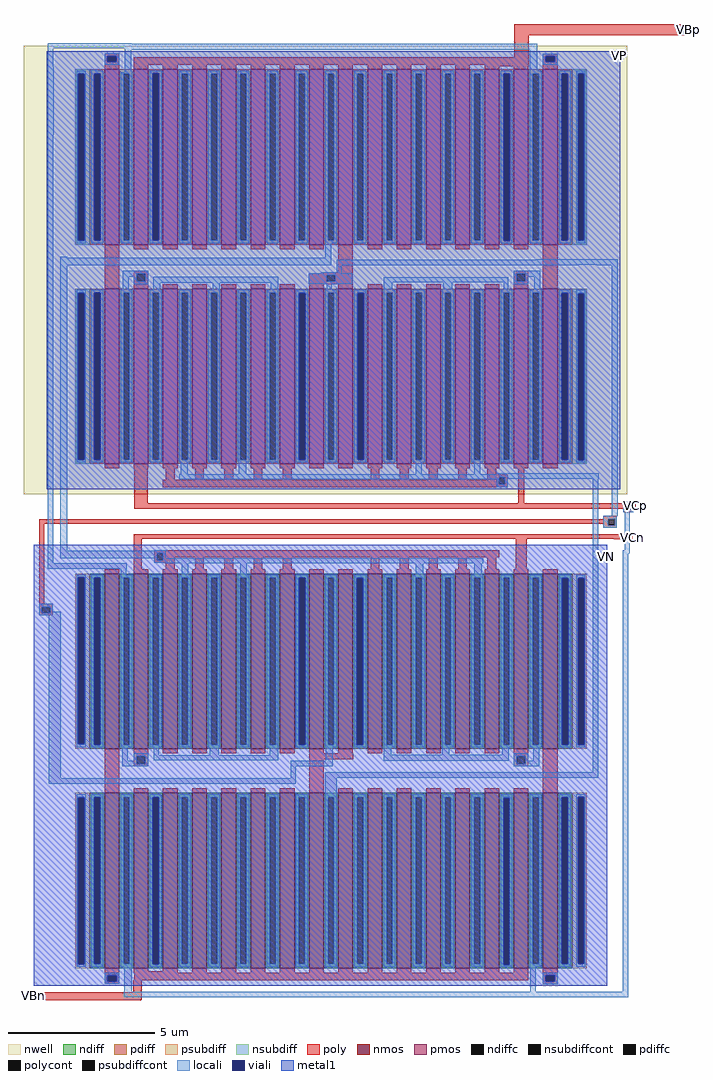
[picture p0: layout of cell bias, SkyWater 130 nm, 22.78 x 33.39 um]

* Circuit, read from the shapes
.subckt bias VBp VP VCp VCn VBn VN
XM1 VCp VN VN VN sky130_fd_pr__nfet_01v8 w=6 l=0.5 m=2
XM2 VCn VN VN VN sky130_fd_pr__nfet_01v8 w=6 l=0.5 m=2
XM3 VN VBn VCp VN sky130_fd_pr__nfet_01v8 w=6 l=0.5 m=2
XM4 n1 VCn VCn VN sky130_fd_pr__nfet_01v8 w=6 l=0.5
XM5 n2 VBn VN VN sky130_fd_pr__nfet_01v8 w=6 l=0.5
XM6 n3 n3 n1 VN sky130_fd_pr__nfet_01v8 w=6 l=0.5 m=4
XM7 n4 VBn n2 VN sky130_fd_pr__nfet_01v8 w=6 l=0.5
XM8 n5 VBn n4 VN sky130_fd_pr__nfet_01v8 w=6 l=0.5
XM9 n6 VBn n5 VN sky130_fd_pr__nfet_01v8 w=6 l=0.5
XM10 n7 VBn n6 VN sky130_fd_pr__nfet_01v8 w=6 l=0.5
XM11 VN n3 n1 VN sky130_fd_pr__nfet_01v8 w=6 l=0.5
XM12 n8 VBn n7 VN sky130_fd_pr__nfet_01v8 w=6 l=0.5
XM13 VBp VBn VN VN sky130_fd_pr__nfet_01v8 w=6 l=0.5 m=2
XM14 n9 VBn n8 VN sky130_fd_pr__nfet_01v8 w=6 l=0.5
XM15 n10 VBn n9 VN sky130_fd_pr__nfet_01v8 w=6 l=0.5
XM16 n11 n3 VN VN sky130_fd_pr__nfet_01v8 w=6 l=0.5
XM17 n12 VBn n10 VN sky130_fd_pr__nfet_01v8 w=6 l=0.5
XM18 n3 n3 n11 VN sky130_fd_pr__nfet_01v8 w=6 l=0.5 m=4
XM19 n13 VBn n12 VN sky130_fd_pr__nfet_01v8 w=6 l=0.5
XM20 n14 VBn n13 VN sky130_fd_pr__nfet_01v8 w=6 l=0.5
XM21 VN VBn n14 VN sky130_fd_pr__nfet_01v8 w=6 l=0.5
XM22 VCn VCn n11 VN sky130_fd_pr__nfet_01v8 w=6 l=0.5
XM23 VCp VP VP VP sky130_fd_pr__pfet_01v8 w=6 l=0.5 m=2
XM24 VCn VP VP VP sky130_fd_pr__pfet_01v8 w=6 l=0.5 m=2
XM25 n15 VCp VCp VP sky130_fd_pr__pfet_01v8 w=6 l=0.5
XM26 VP VBp VCn VP sky130_fd_pr__pfet_01v8 w=6 l=0.5 m=2
XM27 n8 n8 n15 VP sky130_fd_pr__pfet_01v8 w=6 l=0.5 m=4
XM28 n16 VBp VP VP sky130_fd_pr__pfet_01v8 w=6 l=0.5
XM29 n17 VBp n16 VP sky130_fd_pr__pfet_01v8 w=6 l=0.5
XM30 n18 VBp n17 VP sky130_fd_pr__pfet_01v8 w=6 l=0.5
XM31 n19 VBp n18 VP sky130_fd_pr__pfet_01v8 w=6 l=0.5
XM32 VP n8 n15 VP sky130_fd_pr__pfet_01v8 w=6 l=0.5
XM33 n20 VBp n19 VP sky130_fd_pr__pfet_01v8 w=6 l=0.5
XM34 VBp VBp VP VP sky130_fd_pr__pfet_01v8 w=6 l=0.5 m=2
XM35 n3 VBp n20 VP sky130_fd_pr__pfet_01v8 w=6 l=0.5
XM36 n21 VBp n3 VP sky130_fd_pr__pfet_01v8 w=6 l=0.5
XM37 n22 n8 VP VP sky130_fd_pr__pfet_01v8 w=6 l=0.5
XM38 n23 VBp n21 VP sky130_fd_pr__pfet_01v8 w=6 l=0.5
XM39 n8 n8 n22 VP sky130_fd_pr__pfet_01v8 w=6 l=0.5 m=4
XM40 n24 VBp n23 VP sky130_fd_pr__pfet_01v8 w=6 l=0.5
XM41 n25 VBp n24 VP sky130_fd_pr__pfet_01v8 w=6 l=0.5
XM42 n26 VBp n25 VP sky130_fd_pr__pfet_01v8 w=6 l=0.5
XM43 VP VBp n26 VP sky130_fd_pr__pfet_01v8 w=6 l=0.5
XM44 VCp VCp n22 VP sky130_fd_pr__pfet_01v8 w=6 l=0.5
.ends

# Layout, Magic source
magic
tech sky130A
<< nwell >>
rect -277 1021 1788 2556
<< nmos >>
rect 0 150 50 750
rect 100 150 150 750
rect 200 150 250 750
rect 300 150 350 750
rect 400 150 450 750
rect 500 150 550 750
rect 600 150 650 750
rect 700 150 750 750
rect 800 150 850 750
rect 900 150 950 750
rect 1000 150 1050 750
rect 1100 150 1150 750
rect 1200 150 1250 750
rect 1300 150 1350 750
rect 1400 150 1450 750
rect 1500 150 1550 750
rect 0 -600 50 0
rect 100 -600 150 0
rect 200 -600 250 0
rect 300 -600 350 0
rect 400 -600 450 0
rect 500 -600 550 0
rect 600 -600 650 0
rect 700 -600 750 0
rect 800 -600 850 0
rect 900 -600 950 0
rect 1000 -600 1050 0
rect 1100 -600 1150 0
rect 1200 -600 1250 0
rect 1300 -600 1350 0
rect 1400 -600 1450 0
rect 1500 -600 1550 0
<< pmos >>
rect 0 1875 50 2475
rect 100 1875 150 2475
rect 200 1875 250 2475
rect 300 1875 350 2475
rect 400 1875 450 2475
rect 500 1875 550 2475
rect 600 1875 650 2475
rect 700 1875 750 2475
rect 800 1875 850 2475
rect 900 1875 950 2475
rect 1000 1875 1050 2475
rect 1100 1875 1150 2475
rect 1200 1875 1250 2475
rect 1300 1875 1350 2475
rect 1400 1875 1450 2475
rect 1500 1875 1550 2475
rect 0 1125 50 1725
rect 100 1125 150 1725
rect 200 1125 250 1725
rect 300 1125 350 1725
rect 400 1125 450 1725
rect 500 1125 550 1725
rect 600 1125 650 1725
rect 700 1125 750 1725
rect 800 1125 850 1725
rect 900 1125 950 1725
rect 1000 1125 1050 1725
rect 1100 1125 1150 1725
rect 1200 1125 1250 1725
rect 1300 1125 1350 1725
rect 1400 1125 1450 1725
rect 1500 1125 1550 1725
<< ndiff >>
rect -50 735 0 750
rect -50 165 -35 735
rect -15 165 0 735
rect -50 150 0 165
rect 50 735 100 750
rect 50 165 65 735
rect 85 165 100 735
rect 50 150 100 165
rect 150 735 200 750
rect 150 165 165 735
rect 185 165 200 735
rect 150 150 200 165
rect 250 735 300 750
rect 250 165 265 735
rect 285 165 300 735
rect 250 150 300 165
rect 350 735 400 750
rect 350 165 365 735
rect 385 165 400 735
rect 350 150 400 165
rect 450 735 500 750
rect 450 165 465 735
rect 485 165 500 735
rect 450 150 500 165
rect 550 735 600 750
rect 550 165 565 735
rect 585 165 600 735
rect 550 150 600 165
rect 650 735 700 750
rect 650 165 665 735
rect 685 165 700 735
rect 650 150 700 165
rect 750 735 800 750
rect 750 165 765 735
rect 785 165 800 735
rect 750 150 800 165
rect 850 735 900 750
rect 850 165 865 735
rect 885 165 900 735
rect 850 150 900 165
rect 950 735 1000 750
rect 950 165 965 735
rect 985 165 1000 735
rect 950 150 1000 165
rect 1050 735 1100 750
rect 1050 165 1065 735
rect 1085 165 1100 735
rect 1050 150 1100 165
rect 1150 735 1200 750
rect 1150 165 1165 735
rect 1185 165 1200 735
rect 1150 150 1200 165
rect 1250 735 1300 750
rect 1250 165 1265 735
rect 1285 165 1300 735
rect 1250 150 1300 165
rect 1350 735 1400 750
rect 1350 165 1365 735
rect 1385 165 1400 735
rect 1350 150 1400 165
rect 1450 735 1500 750
rect 1450 165 1465 735
rect 1485 165 1500 735
rect 1450 150 1500 165
rect 1550 735 1600 750
rect 1550 165 1565 735
rect 1585 165 1600 735
rect 1550 150 1600 165
rect -50 -15 0 0
rect -50 -585 -35 -15
rect -15 -585 0 -15
rect -50 -600 0 -585
rect 50 -15 100 0
rect 50 -585 65 -15
rect 85 -585 100 -15
rect 50 -600 100 -585
rect 150 -15 200 0
rect 150 -585 165 -15
rect 185 -585 200 -15
rect 150 -600 200 -585
rect 250 -15 300 0
rect 250 -585 265 -15
rect 285 -585 300 -15
rect 250 -600 300 -585
rect 350 -15 400 0
rect 350 -585 365 -15
rect 385 -585 400 -15
rect 350 -600 400 -585
rect 450 -15 500 0
rect 450 -585 465 -15
rect 485 -585 500 -15
rect 450 -600 500 -585
rect 550 -15 600 0
rect 550 -585 565 -15
rect 585 -585 600 -15
rect 550 -600 600 -585
rect 650 -15 700 0
rect 650 -585 665 -15
rect 685 -585 700 -15
rect 650 -600 700 -585
rect 750 -15 800 0
rect 750 -585 765 -15
rect 785 -585 800 -15
rect 750 -600 800 -585
rect 850 -15 900 0
rect 850 -585 865 -15
rect 885 -585 900 -15
rect 850 -600 900 -585
rect 950 -15 1000 0
rect 950 -585 965 -15
rect 985 -585 1000 -15
rect 950 -600 1000 -585
rect 1050 -15 1100 0
rect 1050 -585 1065 -15
rect 1085 -585 1100 -15
rect 1050 -600 1100 -585
rect 1150 -15 1200 0
rect 1150 -585 1165 -15
rect 1185 -585 1200 -15
rect 1150 -600 1200 -585
rect 1250 -15 1300 0
rect 1250 -585 1265 -15
rect 1285 -585 1300 -15
rect 1250 -600 1300 -585
rect 1350 -15 1400 0
rect 1350 -585 1365 -15
rect 1385 -585 1400 -15
rect 1350 -600 1400 -585
rect 1450 -15 1500 0
rect 1450 -585 1465 -15
rect 1485 -585 1500 -15
rect 1450 -600 1500 -585
rect 1550 -15 1600 0
rect 1550 -585 1565 -15
rect 1585 -585 1600 -15
rect 1550 -600 1600 -585
<< pdiff >>
rect -50 2460 0 2475
rect -50 1890 -35 2460
rect -15 1890 0 2460
rect -50 1875 0 1890
rect 50 2460 100 2475
rect 50 1890 65 2460
rect 85 1890 100 2460
rect 50 1875 100 1890
rect 150 2460 200 2475
rect 150 1890 165 2460
rect 185 1890 200 2460
rect 150 1875 200 1890
rect 250 2460 300 2475
rect 250 1890 265 2460
rect 285 1890 300 2460
rect 250 1875 300 1890
rect 350 2460 400 2475
rect 350 1890 365 2460
rect 385 1890 400 2460
rect 350 1875 400 1890
rect 450 2460 500 2475
rect 450 1890 465 2460
rect 485 1890 500 2460
rect 450 1875 500 1890
rect 550 2460 600 2475
rect 550 1890 565 2460
rect 585 1890 600 2460
rect 550 1875 600 1890
rect 650 2460 700 2475
rect 650 1890 665 2460
rect 685 1890 700 2460
rect 650 1875 700 1890
rect 750 2460 800 2475
rect 750 1890 765 2460
rect 785 1890 800 2460
rect 750 1875 800 1890
rect 850 2460 900 2475
rect 850 1890 865 2460
rect 885 1890 900 2460
rect 850 1875 900 1890
rect 950 2460 1000 2475
rect 950 1890 965 2460
rect 985 1890 1000 2460
rect 950 1875 1000 1890
rect 1050 2460 1100 2475
rect 1050 1890 1065 2460
rect 1085 1890 1100 2460
rect 1050 1875 1100 1890
rect 1150 2460 1200 2475
rect 1150 1890 1165 2460
rect 1185 1890 1200 2460
rect 1150 1875 1200 1890
rect 1250 2460 1300 2475
rect 1250 1890 1265 2460
rect 1285 1890 1300 2460
rect 1250 1875 1300 1890
rect 1350 2460 1400 2475
rect 1350 1890 1365 2460
rect 1385 1890 1400 2460
rect 1350 1875 1400 1890
rect 1450 2460 1500 2475
rect 1450 1890 1465 2460
rect 1485 1890 1500 2460
rect 1450 1875 1500 1890
rect 1550 2460 1600 2475
rect 1550 1890 1565 2460
rect 1585 1890 1600 2460
rect 1550 1875 1600 1890
rect -50 1710 0 1725
rect -50 1140 -35 1710
rect -15 1140 0 1710
rect -50 1125 0 1140
rect 50 1710 100 1725
rect 50 1140 65 1710
rect 85 1140 100 1710
rect 50 1125 100 1140
rect 150 1710 200 1725
rect 150 1140 165 1710
rect 185 1140 200 1710
rect 150 1125 200 1140
rect 250 1710 300 1725
rect 250 1140 265 1710
rect 285 1140 300 1710
rect 250 1125 300 1140
rect 350 1710 400 1725
rect 350 1140 365 1710
rect 385 1140 400 1710
rect 350 1125 400 1140
rect 450 1710 500 1725
rect 450 1140 465 1710
rect 485 1140 500 1710
rect 450 1125 500 1140
rect 550 1710 600 1725
rect 550 1140 565 1710
rect 585 1140 600 1710
rect 550 1125 600 1140
rect 650 1710 700 1725
rect 650 1140 665 1710
rect 685 1140 700 1710
rect 650 1125 700 1140
rect 750 1710 800 1725
rect 750 1140 765 1710
rect 785 1140 800 1710
rect 750 1125 800 1140
rect 850 1710 900 1725
rect 850 1140 865 1710
rect 885 1140 900 1710
rect 850 1125 900 1140
rect 950 1710 1000 1725
rect 950 1140 965 1710
rect 985 1140 1000 1710
rect 950 1125 1000 1140
rect 1050 1710 1100 1725
rect 1050 1140 1065 1710
rect 1085 1140 1100 1710
rect 1050 1125 1100 1140
rect 1150 1710 1200 1725
rect 1150 1140 1165 1710
rect 1185 1140 1200 1710
rect 1150 1125 1200 1140
rect 1250 1710 1300 1725
rect 1250 1140 1265 1710
rect 1285 1140 1300 1710
rect 1250 1125 1300 1140
rect 1350 1710 1400 1725
rect 1350 1140 1365 1710
rect 1385 1140 1400 1710
rect 1350 1125 1400 1140
rect 1450 1710 1500 1725
rect 1450 1140 1465 1710
rect 1485 1140 1500 1710
rect 1450 1125 1500 1140
rect 1550 1710 1600 1725
rect 1550 1140 1565 1710
rect 1585 1140 1600 1710
rect 1550 1125 1600 1140
<< ndiffc >>
rect -35 165 -15 735
rect 65 165 85 735
rect 165 165 185 735
rect 265 165 285 735
rect 365 165 385 735
rect 465 165 485 735
rect 565 165 585 735
rect 665 165 685 735
rect 765 165 785 735
rect 865 165 885 735
rect 965 165 985 735
rect 1065 165 1085 735
rect 1165 165 1185 735
rect 1265 165 1285 735
rect 1365 165 1385 735
rect 1465 165 1485 735
rect 1565 165 1585 735
rect -35 -585 -15 -15
rect 65 -585 85 -15
rect 165 -585 185 -15
rect 265 -585 285 -15
rect 365 -585 385 -15
rect 465 -585 485 -15
rect 565 -585 585 -15
rect 665 -585 685 -15
rect 765 -585 785 -15
rect 865 -585 885 -15
rect 965 -585 985 -15
rect 1065 -585 1085 -15
rect 1165 -585 1185 -15
rect 1265 -585 1285 -15
rect 1365 -585 1385 -15
rect 1465 -585 1485 -15
rect 1565 -585 1585 -15
<< pdiffc >>
rect -35 1890 -15 2460
rect 65 1890 85 2460
rect 165 1890 185 2460
rect 265 1890 285 2460
rect 365 1890 385 2460
rect 465 1890 485 2460
rect 565 1890 585 2460
rect 665 1890 685 2460
rect 765 1890 785 2460
rect 865 1890 885 2460
rect 965 1890 985 2460
rect 1065 1890 1085 2460
rect 1165 1890 1185 2460
rect 1265 1890 1285 2460
rect 1365 1890 1385 2460
rect 1465 1890 1485 2460
rect 1565 1890 1585 2460
rect -35 1140 -15 1710
rect 65 1140 85 1710
rect 165 1140 185 1710
rect 265 1140 285 1710
rect 365 1140 385 1710
rect 465 1140 485 1710
rect 565 1140 585 1710
rect 665 1140 685 1710
rect 765 1140 785 1710
rect 865 1140 885 1710
rect 965 1140 985 1710
rect 1065 1140 1085 1710
rect 1165 1140 1185 1710
rect 1265 1140 1285 1710
rect 1365 1140 1385 1710
rect 1465 1140 1485 1710
rect 1565 1140 1585 1710
<< psubdiff >>
rect -100 737 -50 750
rect -100 166 -90 737
rect -70 166 -50 737
rect -100 150 -50 166
rect 1600 735 1650 750
rect 1600 164 1620 735
rect 1640 164 1650 735
rect 1600 150 1650 164
rect -100 -15 -50 0
rect -100 -586 -90 -15
rect -70 -586 -50 -15
rect -100 -600 -50 -586
rect 1600 -14 1650 0
rect 1600 -585 1620 -14
rect 1640 -585 1650 -14
rect 1600 -600 1650 -585
<< nsubdiff >>
rect -100 2460 -50 2475
rect -100 1889 -90 2460
rect -70 1889 -50 2460
rect -100 1875 -50 1889
rect 1600 2461 1650 2475
rect 1600 1890 1620 2461
rect 1640 1890 1650 2461
rect 1600 1875 1650 1890
rect -100 1711 -50 1725
rect -100 1140 -90 1711
rect -70 1140 -50 1711
rect -100 1125 -50 1140
rect 1600 1709 1650 1725
rect 1600 1138 1620 1709
rect 1640 1138 1650 1709
rect 1600 1125 1650 1138
<< psubdiffcont >>
rect -90 166 -70 737
rect 1620 164 1640 735
rect -90 -586 -70 -15
rect 1620 -585 1640 -14
<< nsubdiffcont >>
rect -90 1889 -70 2460
rect 1620 1890 1640 2461
rect -90 1140 -70 1711
rect 1620 1138 1640 1709
<< poly >>
rect 1401 2591 2001 2630
rect 0 2520 50 2530
rect 0 2500 10 2520
rect 40 2500 50 2520
rect 1402 2517 1452 2591
rect 1300 2516 1452 2517
rect 0 2475 50 2500
rect 100 2490 1452 2516
rect 100 2475 150 2490
rect 200 2475 250 2490
rect 300 2475 350 2490
rect 400 2475 450 2490
rect 500 2475 550 2490
rect 600 2475 650 2490
rect 700 2475 750 2490
rect 800 2475 850 2490
rect 900 2475 950 2490
rect 1000 2475 1050 2490
rect 1100 2475 1150 2490
rect 1200 2475 1250 2490
rect 1300 2486 1452 2490
rect 1500 2520 1550 2529
rect 1500 2500 1510 2520
rect 1540 2500 1550 2520
rect 1300 2485 1450 2486
rect 1300 2475 1350 2485
rect 1400 2475 1450 2485
rect 1500 2475 1550 2500
rect 0 1725 50 1875
rect 100 1860 150 1875
rect 200 1860 250 1875
rect 300 1860 350 1875
rect 400 1860 450 1875
rect 500 1860 550 1875
rect 600 1860 650 1875
rect 700 1860 750 1875
rect 100 1775 150 1785
rect 800 1780 850 1875
rect 900 1860 950 1875
rect 1000 1860 1050 1875
rect 1100 1860 1150 1875
rect 1200 1860 1250 1875
rect 1300 1860 1350 1875
rect 1400 1860 1450 1875
rect 742 1778 850 1780
rect 100 1750 110 1775
rect 140 1750 150 1775
rect 100 1725 150 1750
rect 699 1770 850 1778
rect 699 1750 760 1770
rect 790 1750 850 1770
rect 699 1740 850 1750
rect 1400 1775 1450 1785
rect 1400 1750 1410 1775
rect 1440 1750 1450 1775
rect 200 1725 250 1740
rect 300 1725 350 1740
rect 400 1725 450 1740
rect 500 1725 550 1740
rect 600 1725 650 1740
rect 700 1725 750 1740
rect 800 1725 850 1740
rect 900 1725 950 1740
rect 1000 1725 1050 1740
rect 1100 1725 1150 1740
rect 1200 1725 1250 1740
rect 1300 1725 1350 1740
rect 1400 1725 1450 1750
rect 1500 1725 1550 1875
rect 0 1110 50 1125
rect 100 1110 150 1125
rect 200 1110 250 1125
rect 300 1110 350 1125
rect 400 1110 450 1125
rect 500 1110 550 1125
rect 600 1110 650 1125
rect 700 1110 750 1125
rect 800 1110 850 1125
rect 900 1110 950 1125
rect 1000 1110 1050 1125
rect 1100 1110 1150 1125
rect 1200 1110 1250 1125
rect 1300 1110 1350 1125
rect 1400 1110 1450 1125
rect 1500 1110 1550 1125
rect 101 990 148 1110
rect 210 1070 240 1110
rect 310 1070 340 1110
rect 410 1070 440 1110
rect 510 1070 540 1110
rect 610 1070 640 1110
rect 910 1070 940 1110
rect 1010 1070 1040 1110
rect 1110 1070 1140 1110
rect 1210 1070 1240 1110
rect 1310 1088 1340 1110
rect 1310 1079 1380 1088
rect 1310 1070 1350 1079
rect 200 1055 1350 1070
rect 1370 1055 1380 1079
rect 200 1045 1380 1055
rect 1415 990 1436 1110
rect 1775 990 1810 995
rect 101 987 1818 990
rect 101 971 1782 987
rect 1775 969 1782 971
rect 1801 971 1818 987
rect 1801 969 1810 971
rect 1775 959 1810 969
rect 1706 935 1753 948
rect -223 920 1724 935
rect -223 646 -207 920
rect 1706 915 1724 920
rect 1745 915 1753 935
rect 1706 907 1753 915
rect 100 869 1806 884
rect 100 765 127 869
rect 170 820 1350 830
rect 170 796 180 820
rect 200 805 1350 820
rect 200 796 240 805
rect 170 787 240 796
rect 210 765 240 787
rect 310 765 340 805
rect 410 765 440 805
rect 510 765 540 805
rect 610 765 640 805
rect 910 765 940 805
rect 1010 765 1040 805
rect 1110 765 1140 805
rect 1210 765 1240 805
rect 1310 765 1340 805
rect 1407 765 1445 869
rect 1743 868 1801 869
rect 0 750 50 765
rect 100 750 150 765
rect 200 750 250 765
rect 300 750 350 765
rect 400 750 450 765
rect 500 750 550 765
rect 600 750 650 765
rect 700 750 750 765
rect 800 750 850 765
rect 900 750 950 765
rect 1000 750 1050 765
rect 1100 750 1150 765
rect 1200 750 1250 765
rect 1300 750 1350 765
rect 1400 750 1450 765
rect 1500 750 1550 765
rect -223 635 -178 646
rect -223 616 -215 635
rect -186 616 -178 635
rect -223 608 -178 616
rect 0 0 50 150
rect 100 125 150 150
rect 200 135 250 150
rect 300 135 350 150
rect 400 135 450 150
rect 500 135 550 150
rect 600 135 650 150
rect 700 135 750 150
rect 800 135 850 150
rect 900 135 950 150
rect 1000 135 1050 150
rect 1100 135 1150 150
rect 1200 135 1250 150
rect 1300 135 1350 150
rect 100 100 110 125
rect 140 100 150 125
rect 100 90 150 100
rect 700 114 851 135
rect 1400 125 1450 150
rect 100 0 150 15
rect 200 0 250 15
rect 300 0 350 15
rect 400 0 450 15
rect 500 0 550 15
rect 600 0 650 15
rect 700 0 750 114
rect 1400 100 1410 125
rect 1440 100 1450 125
rect 1400 90 1450 100
rect 800 0 850 15
rect 900 0 950 15
rect 1000 0 1050 15
rect 1100 0 1150 15
rect 1200 0 1250 15
rect 1300 0 1350 15
rect 1400 0 1450 15
rect 1500 0 1550 150
rect 0 -625 50 -600
rect 100 -610 150 -600
rect 200 -610 250 -600
rect 100 -614 250 -610
rect 0 -645 10 -625
rect 40 -645 50 -625
rect 101 -615 250 -614
rect 300 -615 350 -600
rect 400 -615 450 -600
rect 500 -615 550 -600
rect 600 -615 650 -600
rect 700 -615 750 -600
rect 800 -615 850 -600
rect 900 -615 950 -600
rect 1000 -615 1050 -600
rect 1100 -615 1150 -600
rect 1200 -615 1250 -600
rect 1300 -615 1350 -600
rect 1400 -615 1450 -600
rect 101 -641 1450 -615
rect 1500 -625 1550 -600
rect 101 -642 250 -641
rect 0 -654 50 -645
rect 99 -682 128 -642
rect 1500 -645 1510 -625
rect 1540 -645 1550 -625
rect 1500 -655 1550 -645
rect -243 -708 128 -682
rect -243 -709 126 -708
<< polycont >>
rect 10 2500 40 2520
rect 1510 2500 1540 2520
rect 110 1750 140 1775
rect 760 1750 790 1770
rect 1410 1750 1440 1775
rect 1350 1055 1370 1079
rect 1782 969 1801 987
rect 1724 915 1745 935
rect 180 796 200 820
rect -215 616 -186 635
rect 110 100 140 125
rect 1410 100 1440 125
rect 10 -645 40 -625
rect 1510 -645 1540 -625
<< locali >>
rect -193 2563 92 2564
rect -193 2562 1480 2563
rect -195 2552 1480 2562
rect -195 2547 1481 2552
rect -195 2509 -175 2547
rect 69 2542 1481 2547
rect 0 2520 50 2530
rect -194 2484 -176 2509
rect 0 2500 10 2520
rect 40 2500 50 2520
rect 0 2490 50 2500
rect 69 2525 92 2542
rect -194 2362 -174 2484
rect -45 2470 -25 2473
rect -195 2251 -174 2362
rect -95 2460 -64 2470
rect -195 786 -175 2251
rect -95 1889 -90 2460
rect -70 1889 -64 2460
rect -95 1880 -64 1889
rect -45 2460 -5 2470
rect 69 2467 91 2525
rect 1455 2470 1481 2542
rect 1500 2520 1550 2529
rect 1500 2500 1510 2520
rect 1540 2500 1550 2520
rect 1500 2490 1550 2500
rect 69 2465 95 2467
rect -45 1890 -35 2460
rect -15 1890 -5 2460
rect -45 1880 -5 1890
rect 55 2460 95 2465
rect 55 1890 65 2460
rect 85 1890 95 2460
rect 55 1880 95 1890
rect 155 2461 195 2470
rect 155 1890 165 2461
rect 185 1890 195 2461
rect 155 1880 195 1890
rect 255 2460 295 2470
rect 255 1890 265 2460
rect 285 1890 295 2460
rect 255 1880 295 1890
rect 355 2460 395 2470
rect 355 1890 365 2460
rect 385 1890 395 2460
rect 355 1880 395 1890
rect 455 2460 495 2470
rect 455 1890 465 2460
rect 485 1890 495 2460
rect 455 1880 495 1890
rect 555 2460 595 2470
rect 555 1890 565 2460
rect 585 1890 595 2460
rect 555 1880 595 1890
rect 655 2460 695 2470
rect 655 1890 665 2460
rect 685 1890 695 2460
rect 655 1880 695 1890
rect 755 2460 795 2470
rect 755 1890 765 2460
rect 785 1890 795 2460
rect 755 1880 795 1890
rect 855 2460 895 2470
rect 855 1890 865 2460
rect 885 1890 895 2460
rect 855 1880 895 1890
rect 955 2460 995 2470
rect 955 1890 965 2460
rect 985 1890 995 2460
rect 955 1880 995 1890
rect 1055 2460 1095 2470
rect 1055 1890 1065 2460
rect 1085 1890 1095 2460
rect 1055 1880 1095 1890
rect 1155 2460 1195 2470
rect 1155 1890 1165 2460
rect 1185 1890 1195 2460
rect 1155 1880 1195 1890
rect 1255 2460 1295 2470
rect 1255 1890 1265 2460
rect 1285 1890 1295 2460
rect 1255 1880 1295 1890
rect 1355 2460 1395 2470
rect 1355 1890 1365 2460
rect 1385 2459 1395 2460
rect 1355 1889 1366 1890
rect 1386 1889 1395 2459
rect 1355 1880 1395 1889
rect 1455 2460 1495 2470
rect 1455 1890 1465 2460
rect 1485 1890 1495 2460
rect 1455 1880 1495 1890
rect 1555 2460 1595 2470
rect 1555 1890 1565 2460
rect 1585 1890 1595 2460
rect 1555 1880 1595 1890
rect 1614 2461 1645 2470
rect 1614 1890 1620 2461
rect 1640 1890 1645 2461
rect 1614 1880 1645 1890
rect -152 1830 -127 1833
rect 755 1830 775 1880
rect -152 1805 776 1830
rect 1685 1825 1756 1826
rect 1478 1824 1756 1825
rect 795 1806 1756 1824
rect 795 1805 1620 1806
rect 1685 1805 1756 1806
rect -152 828 -127 1805
rect 63 1775 150 1785
rect 795 1780 812 1805
rect 742 1778 812 1780
rect 63 1765 110 1775
rect 63 1720 83 1765
rect 100 1750 110 1765
rect 140 1750 150 1775
rect 699 1770 848 1778
rect 100 1740 150 1750
rect 167 1745 594 1765
rect 167 1720 190 1745
rect 370 1720 395 1745
rect 569 1720 594 1745
rect 699 1750 760 1770
rect 790 1750 848 1770
rect 1400 1775 1490 1785
rect 699 1742 848 1750
rect 955 1747 1382 1764
rect 750 1740 803 1742
rect 760 1720 777 1740
rect 955 1720 985 1747
rect 1159 1720 1190 1747
rect 1365 1724 1382 1747
rect 1400 1750 1410 1775
rect 1440 1765 1490 1775
rect 1440 1750 1450 1765
rect 1400 1740 1450 1750
rect 1365 1720 1385 1724
rect 1470 1720 1490 1765
rect -95 1711 -64 1720
rect -95 1139 -90 1711
rect -70 1139 -64 1711
rect -95 1130 -64 1139
rect -45 1710 -5 1720
rect -45 1140 -35 1710
rect -15 1140 -5 1710
rect -45 1130 -5 1140
rect 55 1710 95 1720
rect 55 1140 65 1710
rect 85 1140 95 1710
rect 55 1130 95 1140
rect 155 1710 195 1720
rect 155 1140 165 1710
rect 185 1140 195 1710
rect 155 1130 195 1140
rect 255 1710 295 1720
rect 255 1140 265 1710
rect 285 1140 295 1710
rect 255 1130 295 1140
rect 355 1710 395 1720
rect 355 1140 365 1710
rect 385 1140 395 1710
rect 355 1130 395 1140
rect 455 1710 495 1720
rect 455 1140 465 1710
rect 485 1140 495 1710
rect 455 1130 495 1140
rect 555 1710 595 1720
rect 555 1140 565 1710
rect 585 1140 595 1710
rect 555 1130 595 1140
rect 655 1710 695 1720
rect 655 1140 665 1710
rect 685 1709 695 1710
rect 655 1139 666 1140
rect 686 1139 695 1709
rect 655 1130 695 1139
rect 755 1710 795 1720
rect 755 1140 765 1710
rect 785 1140 795 1710
rect 755 1130 795 1140
rect 855 1710 895 1720
rect 855 1140 865 1710
rect 885 1709 895 1710
rect 855 1139 866 1140
rect 886 1139 895 1709
rect 855 1130 895 1139
rect 955 1710 995 1720
rect 955 1140 965 1710
rect 985 1140 995 1710
rect 955 1130 995 1140
rect 1055 1710 1095 1720
rect 1055 1140 1065 1710
rect 1085 1140 1095 1710
rect 1055 1130 1095 1140
rect 1155 1710 1195 1720
rect 1155 1140 1165 1710
rect 1185 1140 1195 1710
rect 1155 1130 1195 1140
rect 1255 1710 1295 1720
rect 1255 1140 1265 1710
rect 1285 1140 1295 1710
rect 1255 1130 1295 1140
rect 1355 1710 1395 1720
rect 1355 1140 1365 1710
rect 1385 1140 1395 1710
rect 1355 1130 1395 1140
rect 1455 1710 1495 1720
rect 1455 1140 1465 1710
rect 1485 1140 1495 1710
rect 1455 1130 1495 1140
rect 1555 1710 1595 1720
rect 1555 1139 1565 1710
rect 1585 1139 1595 1710
rect 1555 1130 1595 1139
rect 1614 1709 1645 1720
rect 1614 1137 1620 1709
rect 1640 1137 1645 1709
rect 1614 1130 1645 1137
rect 260 1090 285 1130
rect 460 1090 485 1130
rect 1064 1090 1085 1130
rect 1264 1090 1285 1130
rect 1340 1090 1690 1093
rect 255 1079 1690 1090
rect 255 1072 1350 1079
rect 1341 1055 1350 1072
rect 1370 1074 1690 1079
rect 1370 1055 1380 1074
rect 1341 1045 1380 1055
rect 170 828 209 830
rect -152 820 209 828
rect -152 803 180 820
rect 170 796 180 803
rect 200 803 209 820
rect 200 796 1295 803
rect 170 787 1295 796
rect -195 766 76 786
rect 203 785 1295 787
rect 55 745 75 766
rect 265 745 286 785
rect 465 745 486 785
rect 1065 745 1090 785
rect 1265 745 1290 785
rect -95 737 -64 745
rect -223 635 -178 646
rect -223 616 -215 635
rect -186 619 -178 635
rect -186 616 -149 619
rect -223 608 -149 616
rect -191 50 -149 608
rect -95 166 -90 737
rect -70 166 -64 737
rect -95 155 -64 166
rect -45 735 -5 745
rect -45 165 -35 735
rect -15 165 -5 735
rect -45 155 -5 165
rect 55 735 95 745
rect 55 165 65 735
rect 85 165 95 735
rect 55 155 95 165
rect 155 735 195 745
rect 155 165 165 735
rect 185 165 195 735
rect 155 155 195 165
rect 255 735 295 745
rect 255 165 265 735
rect 285 165 295 735
rect 255 155 295 165
rect 355 735 395 745
rect 355 165 365 735
rect 385 165 395 735
rect 355 155 395 165
rect 455 735 495 745
rect 455 165 465 735
rect 485 165 495 735
rect 455 155 495 165
rect 555 735 595 745
rect 555 165 565 735
rect 585 165 595 735
rect 555 155 595 165
rect 655 735 695 745
rect 655 165 665 735
rect 686 165 695 735
rect 655 155 695 165
rect 755 735 795 745
rect 755 165 765 735
rect 785 165 795 735
rect 755 155 795 165
rect 855 735 895 745
rect 855 734 865 735
rect 855 164 863 734
rect 885 165 895 735
rect 883 164 895 165
rect 855 155 895 164
rect 955 735 995 745
rect 955 165 965 735
rect 985 165 995 735
rect 955 155 995 165
rect 1055 735 1095 745
rect 1055 165 1065 735
rect 1085 165 1095 735
rect 1055 155 1095 165
rect 1155 735 1195 745
rect 1155 165 1165 735
rect 1185 165 1195 735
rect 1155 155 1195 165
rect 1255 735 1295 745
rect 1255 165 1265 735
rect 1285 165 1295 735
rect 1255 155 1295 165
rect 1355 735 1395 745
rect 1355 165 1365 735
rect 1385 165 1395 735
rect 1355 155 1395 165
rect 1455 735 1495 745
rect 1455 165 1465 735
rect 1485 165 1495 735
rect 1455 155 1495 165
rect 1555 735 1595 745
rect 1555 165 1565 735
rect 1585 734 1595 735
rect 1555 164 1566 165
rect 1586 164 1595 734
rect 1555 155 1595 164
rect 1614 735 1645 745
rect 1614 164 1620 735
rect 1640 734 1645 735
rect 1641 164 1645 734
rect 1614 155 1645 164
rect 60 110 80 155
rect 165 151 185 155
rect 100 125 150 135
rect 100 110 110 125
rect 60 100 110 110
rect 140 100 150 125
rect 168 128 185 151
rect 360 128 391 155
rect 565 128 595 155
rect 168 111 595 128
rect 756 110 780 155
rect 956 130 981 155
rect 1155 130 1180 155
rect 1360 130 1383 155
rect 956 110 1383 130
rect 1400 125 1450 135
rect 60 90 150 100
rect 637 91 780 110
rect 637 50 655 91
rect 756 90 780 91
rect 1400 100 1410 125
rect 1440 110 1450 125
rect 1467 110 1487 155
rect 1440 100 1487 110
rect 1400 90 1487 100
rect 1670 70 1689 1074
rect 1736 948 1755 1805
rect 1775 987 1810 995
rect 1775 969 1782 987
rect 1801 969 1810 987
rect 1775 959 1810 969
rect 1706 935 1753 948
rect 1706 915 1724 935
rect 1745 915 1753 935
rect 1706 907 1753 915
rect 1779 829 1796 959
rect -191 31 655 50
rect 637 30 655 31
rect 755 51 1689 70
rect 1773 819 1796 829
rect 1773 818 1793 819
rect -95 -15 -64 -5
rect -95 -587 -90 -15
rect -70 -587 -64 -15
rect -95 -595 -64 -587
rect -45 -15 -5 -5
rect -45 -585 -35 -15
rect -15 -585 -5 -15
rect -45 -595 -5 -585
rect 55 -15 95 -5
rect 55 -585 65 -15
rect 85 -585 95 -15
rect 55 -595 95 -585
rect 155 -15 195 -5
rect 155 -586 165 -15
rect 185 -586 195 -15
rect 155 -595 195 -586
rect 255 -15 295 -5
rect 255 -585 265 -15
rect 285 -585 295 -15
rect 255 -595 295 -585
rect 355 -15 395 -5
rect 355 -585 365 -15
rect 385 -585 395 -15
rect 355 -595 395 -585
rect 455 -15 495 -5
rect 455 -585 465 -15
rect 485 -585 495 -15
rect 455 -595 495 -585
rect 555 -15 595 -5
rect 555 -585 565 -15
rect 585 -585 595 -15
rect 555 -595 595 -585
rect 655 -15 695 -5
rect 655 -585 665 -15
rect 685 -585 695 -15
rect 655 -595 695 -585
rect 755 -15 795 51
rect 755 -585 765 -15
rect 785 -585 795 -15
rect 755 -595 795 -585
rect 855 -15 895 -5
rect 855 -585 865 -15
rect 885 -585 895 -15
rect 855 -595 895 -585
rect 955 -15 995 -5
rect 955 -585 965 -15
rect 985 -585 995 -15
rect 955 -595 995 -585
rect 1055 -15 1095 -5
rect 1055 -585 1065 -15
rect 1085 -585 1095 -15
rect 1055 -595 1095 -585
rect 1155 -15 1195 -5
rect 1155 -585 1165 -15
rect 1185 -585 1195 -15
rect 1155 -595 1195 -585
rect 1255 -15 1295 -5
rect 1255 -585 1265 -15
rect 1285 -585 1295 -15
rect 1255 -595 1295 -585
rect 1355 -15 1395 -5
rect 1355 -588 1365 -15
rect 1385 -588 1395 -15
rect 1355 -595 1395 -588
rect 1455 -15 1495 -5
rect 1455 -585 1465 -15
rect 1485 -585 1495 -15
rect 1455 -595 1495 -585
rect 1555 -15 1595 -5
rect 1555 -585 1565 -15
rect 1585 -585 1595 -15
rect 1555 -595 1595 -585
rect 1614 -14 1645 -5
rect 1614 -585 1620 -14
rect 1640 -585 1645 -14
rect 1614 -595 1645 -585
rect 0 -625 50 -615
rect 0 -645 10 -625
rect 40 -626 50 -625
rect 41 -645 50 -626
rect 0 -654 50 -645
rect 67 -681 93 -595
rect 666 -681 1344 -680
rect 1456 -681 1476 -595
rect 1500 -625 1550 -615
rect 1500 -645 1510 -625
rect 1540 -645 1550 -625
rect 1500 -655 1550 -645
rect 1773 -681 1792 818
rect 65 -699 1792 -681
rect 65 -700 743 -699
rect 1315 -700 1792 -699
<< viali >>
rect 10 2501 40 2520
rect -90 1890 -70 2460
rect 1510 2500 1540 2520
rect -35 1890 -15 2460
rect 165 2460 185 2461
rect 165 1891 185 2460
rect 1366 1890 1385 2459
rect 1385 1890 1386 2459
rect 1366 1889 1386 1890
rect 1565 1890 1585 2460
rect 1620 1890 1640 2460
rect -90 1140 -70 1709
rect -90 1139 -70 1140
rect -35 1140 -15 1710
rect 666 1140 685 1709
rect 685 1140 686 1709
rect 666 1139 686 1140
rect 866 1140 885 1709
rect 885 1140 886 1709
rect 866 1139 886 1140
rect 1565 1140 1585 1709
rect 1565 1139 1585 1140
rect 1620 1138 1640 1707
rect 1620 1137 1640 1138
rect -90 167 -70 737
rect -35 165 -15 735
rect 666 165 685 735
rect 685 165 686 735
rect 863 165 865 734
rect 865 165 883 734
rect 863 164 883 165
rect 1566 165 1585 734
rect 1585 165 1586 734
rect 1566 164 1586 165
rect 1621 164 1640 734
rect 1640 164 1641 734
rect -90 -586 -70 -17
rect -90 -587 -70 -586
rect -35 -585 -15 -15
rect 165 -585 185 -16
rect 165 -586 185 -585
rect 1365 -585 1385 -18
rect 1365 -588 1385 -585
rect 1565 -585 1585 -15
rect 1620 -585 1640 -15
rect 11 -645 40 -626
rect 40 -645 41 -626
rect 1510 -645 1540 -625
<< metal1 >>
rect -198 2520 1765 2537
rect -198 2501 10 2520
rect 40 2501 1510 2520
rect -198 2500 1510 2501
rect 1540 2500 1765 2520
rect -198 2461 1765 2500
rect -198 2460 165 2461
rect -198 1890 -90 2460
rect -70 1890 -35 2460
rect -15 1891 165 2460
rect 185 2460 1765 2461
rect 185 2459 1565 2460
rect 185 1891 1366 2459
rect -15 1890 1366 1891
rect -198 1889 1366 1890
rect 1386 1890 1565 2459
rect 1585 1890 1620 2460
rect 1640 1890 1765 2460
rect 1386 1889 1765 1890
rect -198 1710 1765 1889
rect -198 1709 -35 1710
rect -198 1139 -90 1709
rect -70 1140 -35 1709
rect -15 1709 1765 1710
rect -15 1140 666 1709
rect -70 1139 666 1140
rect 686 1139 866 1709
rect 886 1139 1565 1709
rect 1585 1707 1765 1709
rect 1585 1139 1620 1707
rect -198 1137 1620 1139
rect 1640 1137 1765 1707
rect -198 1038 1765 1137
rect -243 737 1720 848
rect -243 167 -90 737
rect -70 735 1720 737
rect -70 167 -35 735
rect -243 165 -35 167
rect -15 165 666 735
rect 686 734 1720 735
rect 686 165 863 734
rect -243 164 863 165
rect 883 164 1566 734
rect 1586 164 1621 734
rect 1641 164 1720 734
rect -243 -15 1720 164
rect -243 -17 -35 -15
rect -243 -587 -90 -17
rect -70 -585 -35 -17
rect -15 -16 1565 -15
rect -15 -585 165 -16
rect -70 -586 165 -585
rect 185 -18 1565 -16
rect 185 -586 1365 -18
rect -70 -587 1365 -586
rect -243 -588 1365 -587
rect 1385 -585 1565 -18
rect 1585 -585 1620 -15
rect 1640 -585 1720 -15
rect 1385 -588 1720 -585
rect -243 -625 1720 -588
rect -243 -626 1510 -625
rect -243 -645 11 -626
rect 41 -645 1510 -626
rect 1540 -645 1720 -625
rect -243 -661 1720 -645
<< labels >>
rlabel metal1 1763 2521 1763 2521 1 VP
port 2 n
rlabel poly 1818 982 1818 982 1 VCp
port 3 n
rlabel poly 1806 874 1806 874 1 VCn
port 4 n
rlabel metal1 1717 809 1717 809 1 VN
port 6 n
rlabel poly -242 -693 -242 -693 1 VBn
port 5 n
rlabel poly 1999 2611 1999 2611 7 VBp
port 1 w
<< end >>
